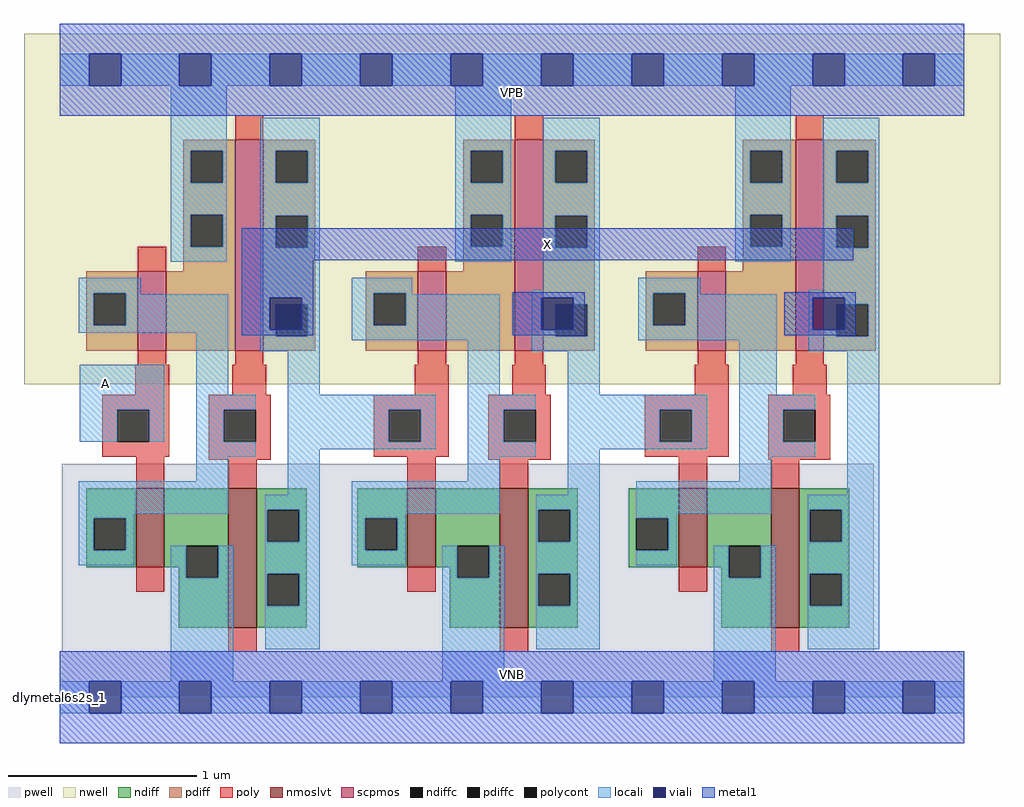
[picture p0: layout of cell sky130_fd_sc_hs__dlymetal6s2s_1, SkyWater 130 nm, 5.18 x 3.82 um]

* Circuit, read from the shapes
.subckt sky130_fd_sc_hs__dlymetal6s2s_1 A VGND VNB VPB VPWR X
XM1 VGND A n1 VNB sky130_fd_pr__nfet_01v8_lvt w=0.42 l=0.15
XM2 X n1 VGND VNB sky130_fd_pr__nfet_01v8_lvt w=0.74 l=0.15
XM3 VGND X n2 VNB sky130_fd_pr__nfet_01v8_lvt w=0.42 l=0.15
XM4 n3 n2 VGND VNB sky130_fd_pr__nfet_01v8_lvt w=0.74 l=0.15
XM5 VGND n3 n4 VNB sky130_fd_pr__nfet_01v8_lvt w=0.42 l=0.15
XM6 n5 n4 VGND VNB sky130_fd_pr__nfet_01v8_lvt w=0.74 l=0.15
XM7 VPWR A n1 VPB sky130_fd_pr__pfet_01v8 w=0.42 l=0.15
XM8 X n1 VPWR VPB sky130_fd_pr__pfet_01v8 w=1.12 l=0.15
XM9 VPWR X n2 VPB sky130_fd_pr__pfet_01v8 w=0.42 l=0.15
XM10 n3 n2 VPWR VPB sky130_fd_pr__pfet_01v8 w=1.12 l=0.15
XM11 VPWR n3 n4 VPB sky130_fd_pr__pfet_01v8 w=0.42 l=0.15
XM12 n5 n4 VPWR VPB sky130_fd_pr__pfet_01v8 w=1.12 l=0.15
.ends

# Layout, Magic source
magic
tech sky130A
magscale 1 2
<< nwell >>
rect -38 332 998 704
<< pwell >>
rect 2 49 864 248
rect 0 0 960 49
<< scpmos >>
rect 83 368 113 452
rect 186 368 216 592
rect 380 368 410 452
rect 483 368 513 592
rect 677 368 707 452
rect 781 368 811 592
<< nmoslvt >>
rect 81 138 111 222
rect 179 74 209 222
rect 369 138 399 222
rect 467 74 497 222
rect 657 138 687 222
rect 755 74 785 222
<< ndiff >>
rect 28 190 81 222
rect 28 156 36 190
rect 70 156 81 190
rect 28 138 81 156
rect 111 161 179 222
rect 111 138 134 161
rect 126 127 134 138
rect 168 127 179 161
rect 126 74 179 127
rect 209 199 262 222
rect 209 165 220 199
rect 254 165 262 199
rect 209 131 262 165
rect 316 190 369 222
rect 316 156 324 190
rect 358 156 369 190
rect 316 138 369 156
rect 399 161 467 222
rect 399 138 422 161
rect 209 97 220 131
rect 254 97 262 131
rect 414 127 422 138
rect 456 127 467 161
rect 209 74 262 97
rect 414 74 467 127
rect 497 199 550 222
rect 497 165 508 199
rect 542 165 550 199
rect 497 131 550 165
rect 604 190 657 222
rect 604 156 612 190
rect 646 156 657 190
rect 604 138 657 156
rect 687 161 755 222
rect 687 138 710 161
rect 497 97 508 131
rect 542 97 550 131
rect 702 127 710 138
rect 744 127 755 161
rect 497 74 550 97
rect 702 74 755 127
rect 785 199 838 222
rect 785 165 796 199
rect 830 165 838 199
rect 785 131 838 165
rect 785 97 796 131
rect 830 97 838 131
rect 785 74 838 97
<< pdiff >>
rect 131 580 186 592
rect 131 546 139 580
rect 173 546 186 580
rect 131 512 186 546
rect 131 478 139 512
rect 173 478 186 512
rect 131 452 186 478
rect 28 429 83 452
rect 28 395 36 429
rect 70 395 83 429
rect 28 368 83 395
rect 113 368 186 452
rect 216 580 271 592
rect 216 546 229 580
rect 263 546 271 580
rect 216 511 271 546
rect 216 477 229 511
rect 263 477 271 511
rect 428 580 483 592
rect 428 546 436 580
rect 470 546 483 580
rect 428 512 483 546
rect 428 478 436 512
rect 470 478 483 512
rect 216 417 271 477
rect 428 452 483 478
rect 216 383 229 417
rect 263 383 271 417
rect 216 368 271 383
rect 325 429 380 452
rect 325 395 333 429
rect 367 395 380 429
rect 325 368 380 395
rect 410 368 483 452
rect 513 580 568 592
rect 513 546 526 580
rect 560 546 568 580
rect 513 511 568 546
rect 513 477 526 511
rect 560 477 568 511
rect 725 580 781 592
rect 725 546 733 580
rect 767 546 781 580
rect 725 512 781 546
rect 725 478 733 512
rect 767 478 781 512
rect 513 417 568 477
rect 725 452 781 478
rect 513 383 526 417
rect 560 383 568 417
rect 513 368 568 383
rect 622 429 677 452
rect 622 395 630 429
rect 664 395 677 429
rect 622 368 677 395
rect 707 368 781 452
rect 811 580 866 592
rect 811 546 824 580
rect 858 546 866 580
rect 811 511 866 546
rect 811 477 824 511
rect 858 477 866 511
rect 811 417 866 477
rect 811 383 824 417
rect 858 383 866 417
rect 811 368 866 383
<< ndiffc >>
rect 36 156 70 190
rect 134 127 168 161
rect 220 165 254 199
rect 324 156 358 190
rect 220 97 254 131
rect 422 127 456 161
rect 508 165 542 199
rect 612 156 646 190
rect 508 97 542 131
rect 710 127 744 161
rect 796 165 830 199
rect 796 97 830 131
<< pdiffc >>
rect 139 546 173 580
rect 139 478 173 512
rect 36 395 70 429
rect 229 546 263 580
rect 229 477 263 511
rect 436 546 470 580
rect 436 478 470 512
rect 229 383 263 417
rect 333 395 367 429
rect 526 546 560 580
rect 526 477 560 511
rect 733 546 767 580
rect 733 478 767 512
rect 526 383 560 417
rect 630 395 664 429
rect 824 546 858 580
rect 824 477 858 511
rect 824 383 858 417
<< poly >>
rect 186 592 216 618
rect 483 592 513 618
rect 781 592 811 618
rect 83 452 113 478
rect 380 452 410 478
rect 677 452 707 478
rect 83 353 113 368
rect 186 353 216 368
rect 380 353 410 368
rect 483 353 513 368
rect 677 353 707 368
rect 781 353 811 368
rect 80 321 116 353
rect 183 321 219 353
rect 377 321 413 353
rect 480 321 516 353
rect 674 321 710 353
rect 778 321 814 353
rect 45 305 116 321
rect 45 271 61 305
rect 95 271 116 305
rect 45 255 116 271
rect 158 305 224 321
rect 158 271 174 305
rect 208 271 224 305
rect 81 222 111 255
rect 158 252 224 271
rect 333 305 413 321
rect 333 271 349 305
rect 383 271 413 305
rect 333 255 413 271
rect 455 305 521 321
rect 455 271 471 305
rect 505 271 521 305
rect 179 222 209 252
rect 369 222 399 255
rect 455 252 521 271
rect 621 305 710 321
rect 621 271 637 305
rect 671 271 710 305
rect 621 255 710 271
rect 752 305 818 321
rect 752 271 768 305
rect 802 271 818 305
rect 467 222 497 252
rect 657 222 687 255
rect 752 252 818 271
rect 755 222 785 252
rect 81 112 111 138
rect 369 112 399 138
rect 657 112 687 138
rect 179 48 209 74
rect 467 48 497 74
rect 755 48 785 74
<< polycont >>
rect 61 271 95 305
rect 174 271 208 305
rect 349 271 383 305
rect 471 271 505 305
rect 637 271 671 305
rect 768 271 802 305
<< locali >>
rect 0 649 31 683
rect 65 649 127 683
rect 161 649 223 683
rect 257 649 319 683
rect 353 649 415 683
rect 449 649 511 683
rect 545 649 607 683
rect 641 649 703 683
rect 737 649 799 683
rect 833 649 895 683
rect 929 649 960 683
rect 118 580 177 649
rect 118 546 139 580
rect 173 546 177 580
rect 118 512 177 546
rect 118 478 139 512
rect 173 478 177 512
rect 118 462 177 478
rect 213 580 276 615
rect 213 546 229 580
rect 263 546 276 580
rect 213 511 276 546
rect 213 477 229 511
rect 263 477 276 511
rect 20 429 86 445
rect 20 395 36 429
rect 70 428 86 429
rect 70 395 179 428
rect 20 387 179 395
rect 21 305 111 353
rect 21 271 61 305
rect 95 271 111 305
rect 145 321 179 387
rect 213 424 276 477
rect 420 580 479 649
rect 420 546 436 580
rect 470 546 479 580
rect 420 512 479 546
rect 420 478 436 512
rect 470 478 479 512
rect 420 462 479 478
rect 513 580 573 615
rect 513 546 526 580
rect 560 546 573 580
rect 513 511 573 546
rect 513 477 526 511
rect 560 477 573 511
rect 213 390 223 424
rect 257 417 276 424
rect 213 383 229 390
rect 263 383 276 417
rect 213 367 276 383
rect 310 429 374 445
rect 513 432 573 477
rect 717 580 776 649
rect 717 546 733 580
rect 767 546 776 580
rect 717 512 776 546
rect 717 478 733 512
rect 767 478 776 512
rect 717 462 776 478
rect 810 580 870 615
rect 810 546 824 580
rect 858 546 870 580
rect 810 511 870 546
rect 810 477 824 511
rect 858 477 870 511
rect 310 395 333 429
rect 367 428 374 429
rect 367 395 467 428
rect 310 379 467 395
rect 242 321 276 367
rect 433 321 467 379
rect 501 424 573 432
rect 501 390 511 424
rect 545 417 573 424
rect 501 383 526 390
rect 560 383 573 417
rect 501 367 573 383
rect 614 429 680 445
rect 810 432 870 477
rect 614 395 630 429
rect 664 428 680 429
rect 664 395 761 428
rect 614 379 761 395
rect 539 321 573 367
rect 721 321 761 379
rect 795 424 870 432
rect 795 390 799 424
rect 833 417 870 424
rect 795 383 824 390
rect 858 383 870 417
rect 795 367 870 383
rect 145 305 208 321
rect 145 271 174 305
rect 145 255 208 271
rect 242 305 399 321
rect 242 271 349 305
rect 383 271 399 305
rect 242 263 399 271
rect 433 305 505 321
rect 433 271 471 305
rect 145 229 179 255
rect 20 195 179 229
rect 242 215 276 263
rect 433 255 505 271
rect 539 305 687 321
rect 539 271 637 305
rect 671 271 687 305
rect 539 263 687 271
rect 721 305 802 321
rect 721 271 768 305
rect 433 229 467 255
rect 218 199 276 215
rect 20 190 79 195
rect 20 156 36 190
rect 70 156 79 190
rect 218 165 220 199
rect 254 165 276 199
rect 20 140 79 156
rect 118 127 134 161
rect 168 127 184 161
rect 118 17 184 127
rect 218 131 276 165
rect 310 195 467 229
rect 539 215 573 263
rect 721 255 802 271
rect 721 229 755 255
rect 506 199 573 215
rect 310 190 367 195
rect 310 156 324 190
rect 358 156 367 190
rect 506 165 508 199
rect 542 165 573 199
rect 310 140 367 156
rect 218 97 220 131
rect 254 97 276 131
rect 218 51 276 97
rect 406 127 422 161
rect 456 127 472 161
rect 406 17 472 127
rect 506 131 573 165
rect 612 195 755 229
rect 836 215 870 367
rect 794 199 870 215
rect 612 190 655 195
rect 646 156 655 190
rect 794 165 796 199
rect 830 165 870 199
rect 612 140 655 156
rect 506 97 508 131
rect 542 97 573 131
rect 506 51 573 97
rect 694 127 710 161
rect 744 127 760 161
rect 694 17 760 127
rect 794 131 870 165
rect 794 97 796 131
rect 830 97 870 131
rect 794 51 870 97
rect 0 -17 31 17
rect 65 -17 127 17
rect 161 -17 223 17
rect 257 -17 319 17
rect 353 -17 415 17
rect 449 -17 511 17
rect 545 -17 607 17
rect 641 -17 703 17
rect 737 -17 799 17
rect 833 -17 895 17
rect 929 -17 960 17
<< viali >>
rect 31 649 65 683
rect 127 649 161 683
rect 223 649 257 683
rect 319 649 353 683
rect 415 649 449 683
rect 511 649 545 683
rect 607 649 641 683
rect 703 649 737 683
rect 799 649 833 683
rect 895 649 929 683
rect 223 417 257 424
rect 223 390 229 417
rect 229 390 257 417
rect 511 417 545 424
rect 511 390 526 417
rect 526 390 545 417
rect 799 417 833 424
rect 799 390 824 417
rect 824 390 833 417
rect 31 -17 65 17
rect 127 -17 161 17
rect 223 -17 257 17
rect 319 -17 353 17
rect 415 -17 449 17
rect 511 -17 545 17
rect 607 -17 641 17
rect 703 -17 737 17
rect 799 -17 833 17
rect 895 -17 929 17
<< metal1 >>
rect 0 683 960 715
rect 0 649 31 683
rect 65 649 127 683
rect 161 649 223 683
rect 257 649 319 683
rect 353 649 415 683
rect 449 649 511 683
rect 545 649 607 683
rect 641 649 703 683
rect 737 649 799 683
rect 833 649 895 683
rect 929 649 960 683
rect 0 617 960 649
rect 193 464 842 498
rect 193 424 269 464
rect 193 390 223 424
rect 257 390 269 424
rect 193 384 269 390
rect 481 424 557 430
rect 481 390 511 424
rect 545 390 557 424
rect 481 384 557 390
rect 769 424 845 430
rect 769 390 799 424
rect 833 390 845 424
rect 769 384 845 390
rect 0 17 960 49
rect 0 -17 31 17
rect 65 -17 127 17
rect 161 -17 223 17
rect 257 -17 319 17
rect 353 -17 415 17
rect 449 -17 511 17
rect 545 -17 607 17
rect 641 -17 703 17
rect 737 -17 799 17
rect 833 -17 895 17
rect 929 -17 960 17
rect 0 -49 960 -17
<< labels >>
rlabel comment s 0 0 0 0 4 dlymetal6s2s_1
flabel pwell s 0 0 960 49 0 FreeSans 200 0 0 0 VNB
port 3 nsew ground bidirectional
flabel nwell s 0 617 960 666 0 FreeSans 200 0 0 0 VPB
port 4 nsew power bidirectional
flabel metal1 s 193 464 842 498 0 FreeSans 200 0 0 0 X
port 6 nsew signal output
flabel metal1 s 0 0 960 49 0 FreeSans 340 0 0 0 VGND
port 2 nsew ground bidirectional
flabel metal1 s 0 617 960 666 0 FreeSans 340 0 0 0 VPWR
port 5 nsew power bidirectional
flabel locali s 32 316 66 350 0 FreeSans 340 0 0 0 A
port 1 nsew signal input
<< properties >>
string LEFsite unit
string LEFclass CORE
string FIXED_BBOX 0 0 960 666
string GDS_FILE $PDKPATH/libs.ref/sky130_fd_sc_hs/gds/sky130_fd_sc_hs.gds
string LEFsymmetry X Y
string GDS_END 2424092
string GDS_START 2416044
<< end >>
